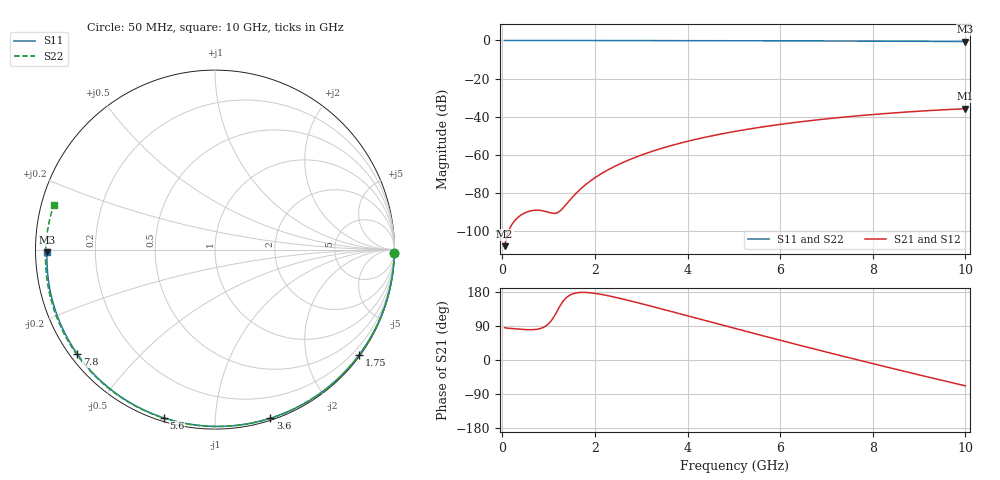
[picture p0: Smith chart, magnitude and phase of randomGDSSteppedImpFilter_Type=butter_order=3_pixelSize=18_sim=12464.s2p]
! freq	dB(S11)	phase(S11)	dB(S12)	phase(S12)
!  dB(S21)	phase(S21)	dB(S22)	phase(S22)
!S-par simulation data
#  GHz  S  DB  R 50
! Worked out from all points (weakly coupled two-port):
!   200 points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, 50 MHz to 10 GHz, reference 50 ohm
!   highest |S21| = -35.87 dB at 10 GHz (marker M1); lowest = -108.1 dB at 50 MHz (marker M2)
!   lowest |S11| = -0.6 dB at 10 GHz (marker M3), VSWR 30.28, Z = 1.65 - j0.415 ohm
!   |S11| at or under -10 dB: nowhere
!   |S22| runs from -0.6 to 0.0 dB; largest |S21 - S12| = 0
!   S11 on the Smith chart (normalised r, x): 50 MHz: open; 1.75 GHz: 0.03, -3.07; 3.6 GHz: 0.02, -1.38; 5.6 GHz: 0.02, -0.74; 7.8 GHz: 0.02, -0.34; 10 GHz: 0.03, -0.01
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0.05  -0.00 -1.0  -108.07 85.3  -108.07 85.3  -0.00 -1.1
0.45  -0.01 -9.4  -91.04 80.6  -91.04 80.6  -0.02 -10.2
0.8  -0.02 -16.7  -89.23 82.4  -89.23 82.4  -0.02 -18.1
1.2  -0.03 -24.9  -90.37 132.5  -90.37 132.5  -0.03 -27.1
1.6  -0.04 -33.1  -80.13 177.1  -80.13 177.1  -0.05 -35.9
1.75  -0.05 -36.1  -76.75 178.5  -76.75 178.5  -0.05 -39.2
2.05  -0.05 -42.1  -71.33 174.9  -71.33 174.9  -0.06 -45.7
2.25  -0.06 -46.0  -68.41 170.4  -68.41 170.4  -0.06 -50.0
2.45  -0.06 -49.9  -65.87 165.2  -65.87 165.2  -0.07 -54.2
2.9  -0.08 -58.6  -61.14 151.9  -61.14 151.9  -0.08 -63.6
3.4  -0.09 -68.1  -56.97 136.1  -56.97 136.1  -0.10 -73.8
3.6  -0.10 -71.8  -55.54 129.6  -55.54 129.6  -0.10 -77.8
4.3  -0.12 -84.5  -51.27 106.9  -51.27 106.9  -0.13 -91.4
5.05  -0.15 -97.6  -47.67 82.5  -47.67 82.5  -0.16 -105.5
5.6  -0.18 -107.0  -45.49 64.9  -45.49 64.9  -0.19 -115.6
6.15  -0.21 -116.1  -43.62 47.4  -43.62 47.4  -0.22 -125.5
6.7  -0.24 -125.1  -41.99 30.2  -41.99 30.2  -0.26 -135.2
7.25  -0.28 -134.0  -40.57 13.2  -40.57 13.2  -0.30 -144.9
7.8  -0.33 -142.9  -39.33 -3.5  -39.33 -3.5  -0.35 -154.7
8.35  -0.38 -151.8  -38.25 -20.0  -38.25 -20.0  -0.41 -164.5
9.2  -0.47 -165.6  -36.87 -45.1  -36.87 -45.1  -0.50 180.0
10  -0.57 -179.0  -35.87 -68.1  -35.87 -68.1  -0.60 164.6
